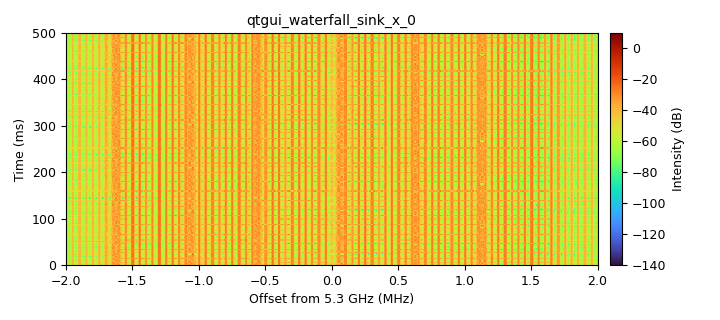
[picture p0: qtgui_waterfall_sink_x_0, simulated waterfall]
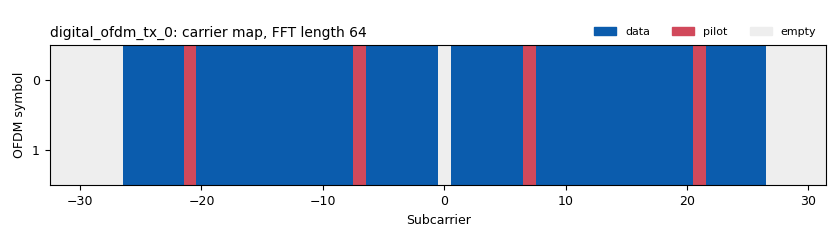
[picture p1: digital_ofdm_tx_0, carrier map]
options:
  parameters:
    author: Dr. Joao Santos
    generate_options: qt_gui
    id: complete_initial_access
    output_language: python
    title: Commonwealth Cyber Initiative
  states: {}

blocks:
- name: occupied_carriers
  id: variable
  parameters:
    value: (list(range(-26, -21)) + list(range(-20, -7)) + list(range(-6, 0)) + list(range(1, 7)) + list(range(8, 21)) + list(range(22, 27)),)
  states: {}
- name: pilot_carriers
  id: variable
  parameters:
    value: ((-21, -7, 7, 21,),)
  states: {}
- name: pilot_symbols
  id: variable
  parameters:
    value: ((1, 1, 1, -1,),)
  states: {}
- name: rx_beams
  id: variable
  parameters:
    value: '[x for x in range(1,64)]'
  states: {}
- name: sync_word1
  id: variable
  parameters:
    value: '[0., 0., 0., 0., 0., 0., 0., 1.41421356, 0., -1.41421356, 0., 1.41421356, 0., -1.41421356, 0., -1.41421356, 0., -1.41421356, 0., 1.41421356, 0., -1.41421356, 0., 1.41421356, 0., -1.41421356, 0., -1.41421356, 0., -1.41421356, 0., -1.41421356, 0., 1.41421356, 0., -1.41421356, 0., 1.41421356, 0., 1.41421356, 0., 1.41421356, 0., -1.41421356, 0., 1.41421356, 0., 1.41421356, 0., 1.41421356, 0., -1.41421356, 0., 1.41421356, 0., 1.41421356, 0., 1.41421356, 0., 0., 0., 0., 0., 0.]'
  states: {}
- name: sync_word2
  id: variable
  parameters:
    value: '[0j, 0j, 0j, 0j, 0j, 0j, (-1+0j), (-1+0j), (-1+0j), (-1+0j), (1+0j), (1+0j), (-1+0j), (-1+0j), (-1+0j), (1+0j), (-1+0j), (1+0j), (1+0j), (1 +0j), (1+0j), (1+0j), (-1+0j), (-1+0j), (-1+0j), (-1+0j), (-1+0j), (1+0j), (-1+0j), (-1+0j), (1+0j), (-1+0j), 0j, (1+0j), (-1+0j), (1+0j), (1+0j), (1+0j), (-1+0j), (1+0j), (1+0j), (1+0j), (-1+0j), (1+0j), (1+0j), (1+0j), (1+0j), (-1+0j), (1+0j), (-1+0j), (-1+0j), (-1+0j), (1+0j), (-1+0j), (1+0j), (-1+0j), (-1+0j), (-1+0j), (-1+0j), 0j, 0j, 0j, 0j, 0j]'
  states: {}
- name: tx_beams
  id: variable
  parameters:
    value: '[x for x in range(1,64)]'
  states: {}
- name: analog_random_source_x_0
  id: analog_random_source_x
  parameters:
    max: '2'
    min: '0'
    num_samps: '1000'
    repeat: 'True'
    type: byte
  states: {}
- name: beam_period
  id: parameter
  parameters:
    type: eng_float
    value: '0.1'
  states: {}
- name: blocks_multiply_const_vxx_0_0
  id: blocks_multiply_const_vxx
  parameters:
    const: '0.1'
    type: complex
  states: {}
- name: blocks_stream_to_tagged_stream_0
  id: blocks_stream_to_tagged_stream
  parameters:
    len_tag_key: '"packet_len"'
    packet_len: '200'
    type: byte
  states: {}
- name: blocks_throttle_0
  id: blocks_throttle
  parameters:
    samples_per_second: samp_rate
    type: complex
  states: {}
- name: center_freq
  id: parameter
  parameters:
    value: 5.3e9
  states: {}
- name: channels_channel_model_0
  id: channels_channel_model
  parameters:
    epsilon: '1.0'
    freq_offset: '0.0'
    noise_voltage: '0.0'
    seed: '0'
    taps: 1.0 + 1.0j
  states: {}
- name: digital_ofdm_rx_0
  id: digital_ofdm_rx
  parameters:
    cp_len: fft_len//4
    fft_len: fft_len
    header_mod: '"BPSK"'
    occupied_carriers: occupied_carriers
    packet_len_key: '"pdu_len"'
    payload_mod: '"BPSK"'
    pilot_carriers: pilot_carriers
    pilot_symbols: pilot_symbols
    sync_word1: sync_word1
    sync_word2: sync_word2
  states: {}
- name: digital_ofdm_tx_0
  id: digital_ofdm_tx
  parameters:
    cp_len: fft_len//4
    fft_len: fft_len
    header_mod: '"BPSK"'
    occupied_carriers: occupied_carriers
    packet_len_key: '"packet_len"'
    payload_mod: '"BPSK"'
    pilot_carriers: pilot_carriers
    pilot_symbols: pilot_symbols
    rolloff: '0'
    sync_word1: sync_word1
    sync_word2: sync_word2
  states: {}
- name: fft_len
  id: parameter
  parameters:
    type: intx
    value: '64'
  states: {}
- name: file_suffix
  id: parameter
  parameters:
    type: str
    value: angle_190
  states: {}
- name: ia_interval
  id: parameter
  parameters:
    type: eng_float
    value: '1'
  states: {}
- name: meas_period
  id: parameter
  parameters:
    type: eng_float
    value: '1e-3'
  states: {}
- name: mmwave_beam_control_beam_mapper_0
  id: mmwave_beam_control_beam_mapper
  parameters:
    backoff: '2e-6'
    config_path: /home/adrian/Documents/gr-mmwave_beam_control/examples/interdigital_mhuv3.json
    debug: 'True'
    pulse: '2e-6'
    rx_mhu: MHU2
    tx_mhu: MHU1
  states: {}
- name: mmwave_beam_control_beam_selector_0
  id: mmwave_beam_control_beam_selector
  parameters:
    debug: 'True'
    kpi_file: '"/home/adrian/sel_kpi_" + file_suffix + ".log"'
    pair_file: '"/home/adrian/sel_pair_" + file_suffix + ".log"'
    threshold: '0.0'
  states: {}
- name: mmwave_beam_control_beam_sweep_0
  id: mmwave_beam_control_beam_sweep
  parameters:
    beam_period: beam_period
    debug: 'True'
    ia_interval: ia_interval
    rx_iterable: rx_beams
    standalone: 'False'
    tx_iterable: tx_beams
  states: {}
- name: mmwave_beam_control_kpi_agg_0
  id: mmwave_beam_control_kpi_agg
  parameters:
    beam_file: '"/home/adrian/kpi_beam_" + file_suffix + ".log"'
    debug: 'True'
    meas_file: '"/home/adrian/kpi_meas_" + file_suffix + ".log"'
    meas_period: meas_period
    sensitivity: '-90.0'
    standalone: 'False'
    type: float
  states: {}
- name: mmwave_beam_control_rate_measure_0
  id: mmwave_beam_control_rate_measure
  parameters:
    debug: 'False'
    meas_file: '"/home/adrian/rate_meas_" + file_suffix + ".log"'
    meas_period: '1e-3'
  states: {}
- name: mmwave_beam_control_rss_calc_0_0
  id: mmwave_beam_control_rss_calc
  parameters:
    length: '1000'
    max_iter: '4000'
  states: {}
- name: qtgui_waterfall_sink_x_0
  id: qtgui_waterfall_sink_x
  parameters:
    bw: samp_rate*2
    fc: center_freq
    fftsize: '1024'
    type: complex
    update_time: '0.01'
    wintype: firdes.WIN_BLACKMAN_hARRIS
  states: {}
- name: rx_gain
  id: parameter
  parameters:
    type: eng_float
    value: '1'
  states: {}
- name: samp_rate
  id: parameter
  parameters:
    value: 2e6
  states: {}
- name: tx_gain
  id: parameter
  parameters:
    type: eng_float
    value: '0.700'
  states: {}
- name: uhd_usrp_sink_0_0
  id: uhd_usrp_sink
  parameters:
    ant0: TX/RX
    bw0: 0.5*samp_rate
    center_freq0: center_freq
    dev_args: '""'
    gain0: tx_gain
    len_tag_name: ''
    norm_gain0: 'True'
    samp_rate: samp_rate
    sd_spec0: A:0
    sync: sync
    type: fc32
  states: {state: disabled}
- name: uhd_usrp_source_0_0
  id: uhd_usrp_source
  parameters:
    ant0: TX/RX
    bw0: 0.5*samp_rate
    center_freq0: center_freq
    dc_offs_enb0: '""'
    dev_args: '""'
    gain0: rx_gain
    iq_imbal_enb0: '""'
    norm_gain0: 'True'
    rx_agc0: Disabled
    samp_rate: samp_rate
    sd_spec0: B:0
    sync: sync
    type: fc32
  states: {state: disabled}

connections:
- [analog_random_source_x_0, '0', blocks_stream_to_tagged_stream_0, '0']
- [blocks_multiply_const_vxx_0_0, '0', channels_channel_model_0, '0']
- [blocks_multiply_const_vxx_0_0, '0', uhd_usrp_sink_0_0, '0']
- [blocks_stream_to_tagged_stream_0, '0', digital_ofdm_tx_0, '0']
- [blocks_throttle_0, '0', digital_ofdm_rx_0, '0']
- [blocks_throttle_0, '0', mmwave_beam_control_rss_calc_0_0, '0']
- [blocks_throttle_0, '0', qtgui_waterfall_sink_x_0, '0']
- [channels_channel_model_0, '0', blocks_throttle_0, '0']
- [digital_ofdm_rx_0, '0', mmwave_beam_control_rate_measure_0, '0']
- [digital_ofdm_tx_0, '0', blocks_multiply_const_vxx_0_0, '0']
- [mmwave_beam_control_beam_mapper_0, gpio_cmd, uhd_usrp_sink_0_0, command]
- [mmwave_beam_control_beam_selector_0, sweep, mmwave_beam_control_beam_sweep_0, sweep]
- [mmwave_beam_control_beam_sweep_0, beam_id, mmwave_beam_control_beam_mapper_0, beam_id]
- [mmwave_beam_control_beam_sweep_0, beam_id, mmwave_beam_control_kpi_agg_0, beam_id]
- [mmwave_beam_control_beam_sweep_0, trigger, mmwave_beam_control_beam_selector_0, trigger]
- [mmwave_beam_control_beam_sweep_0, trigger, mmwave_beam_control_kpi_agg_0, trigger]
- [mmwave_beam_control_beam_sweep_0, trigger, mmwave_beam_control_rate_measure_0, trigger]
- [mmwave_beam_control_kpi_agg_0, kpi_out, mmwave_beam_control_beam_selector_0, kpi_in]
- [mmwave_beam_control_rss_calc_0_0, '0', mmwave_beam_control_kpi_agg_0, '0']
- [uhd_usrp_source_0_0, '0', digital_ofdm_rx_0, '0']
- [uhd_usrp_source_0_0, '0', mmwave_beam_control_rss_calc_0_0, '0']
- [uhd_usrp_source_0_0, '0', qtgui_waterfall_sink_x_0, '0']

metadata:
  file_format: 1
